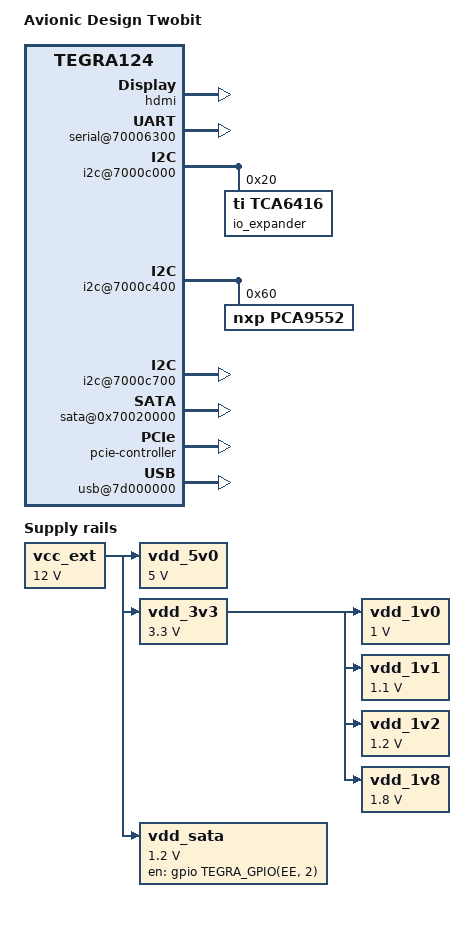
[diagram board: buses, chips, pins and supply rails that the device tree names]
/dts-v1/;

#include "tegra124-meerkat.dtsi"

/ {
	model = "Avionic Design Twobit";
	compatible = "ad,twobit", "ad,meerkat", "nvidia,tegra124";
	nvidia,dtsfilename = __FILE__;

	host1x {
		dc@54200000 {
			status = "okay";

			nvidia,dc-connection = "external-display";
			vdd_hdmi_5v0-supply = <&vdd_5v0>;
		};

		hdmi {
			status = "okay";
		};
	};

	serial@70006300 {
		status = "okay";
	};

	/* GEN 1 */
	i2c@7000c000 {
		status = "okay";

		io_expander: tca6416@20 {
			/* The board has an NXP chip, but it is the same one */
			compatible = "ti,tca6416";
			reg = <0x20>;

			gpio-controller;
			#gpio-cells = <2>;
		};
	};

	/* GEN 2 */
	i2c@7000c400 {
		status = "okay";

		pca9552@60 {
			compatible = "nxp,pca9552";
			reg = <0x60>;
		};
	};

	/* HDMI DDC */
	i2c@7000c700 {
		status = "okay";
	};

	/* SATA */
	sata@0x70020000 {
		status = "okay";
		vdd_sata-supply = <&vdd_sata>;
	};

	/* HDMI Audio */
	hda@70030000 {
		status = "okay";
	};

	pcie-controller {
		status = "okay";
		nvidia,port0_status = <0>;
		nvidia,port1_status = <1>;
		nvidia,lanes = <TEGRA_PCIE_LANES_X4_X1>;
	};

	/* USB2 */
	usb@7d000000 {
		status = "okay";
		nvidia,hotplug;
		nvidia,remote-wakeup-supported;
		nvidia,power-off-on-suspend;

		usb_vbus-supply = <&vdd_5v0>;
	};

	regulators {
		vcc_ext: regulator@50 {
			compatible = "regulator-fixed";
			reg = <50>;
			regulator-name = "VccExt";
			regulator-min-microvolt = <12000000>;
			regulator-max-microvolt = <12000000>;
			regulator-always-on;
			regulator-boot-on;
		};

		vdd_5v0: regulator@101 {
			compatible = "regulator-fixed";
			reg = <101>;
			regulator-name = "+5V";
			regulator-min-microvolt = <5000000>;
			regulator-max-microvolt = <5000000>;
			vin-supply = <&vcc_ext>;
		};

		vdd_3v3: regulator@102 {
			compatible = "regulator-fixed";
			reg = <102>;
			regulator-name = "+3V3";
			regulator-min-microvolt = <3300000>;
			regulator-max-microvolt = <3300000>;
			vin-supply = <&vcc_ext>;
		};

		vdd_1v0: regulator@103 {
			compatible = "regulator-fixed";
			reg = <103>;
			regulator-name = "+1V";
			regulator-min-microvolt = <1000000>;
			regulator-max-microvolt = <1000000>;
			vin-supply = <&vdd_3v3>;
		};

		vdd_1v1: regulator@104 {
			compatible = "regulator-fixed";
			reg = <104>;
			regulator-name = "+1V1";
			regulator-min-microvolt = <1100000>;
			regulator-max-microvolt = <1100000>;
			vin-supply = <&vdd_3v3>;
		};

		vdd_1v2: regulator@105 {
			compatible = "regulator-fixed";
			reg = <105>;
			regulator-name = "+1V2";
			regulator-min-microvolt = <1200000>;
			regulator-max-microvolt = <1200000>;
			vin-supply = <&vdd_3v3>;
		};

		vdd_1v8: regulator@106 {
			compatible = "regulator-fixed";
			reg = <106>;
			regulator-name = "+1V8";
			regulator-min-microvolt = <1800000>;
			regulator-max-microvolt = <1800000>;
			vin-supply = <&vdd_3v3>;
		};

		vdd_sata: regulator@107 {
			compatible = "regulator-fixed";
			reg = <107>;
			regulator-name = "VDD_SATA";
			regulator-min-microvolt = <1200000>;
			regulator-max-microvolt = <1200000>;
			vin-supply = <&vcc_ext>;
			gpio = <&gpio TEGRA_GPIO(EE, 2) GPIO_ACTIVE_HIGH>;
			enable-active-high;
		};
	};
};
